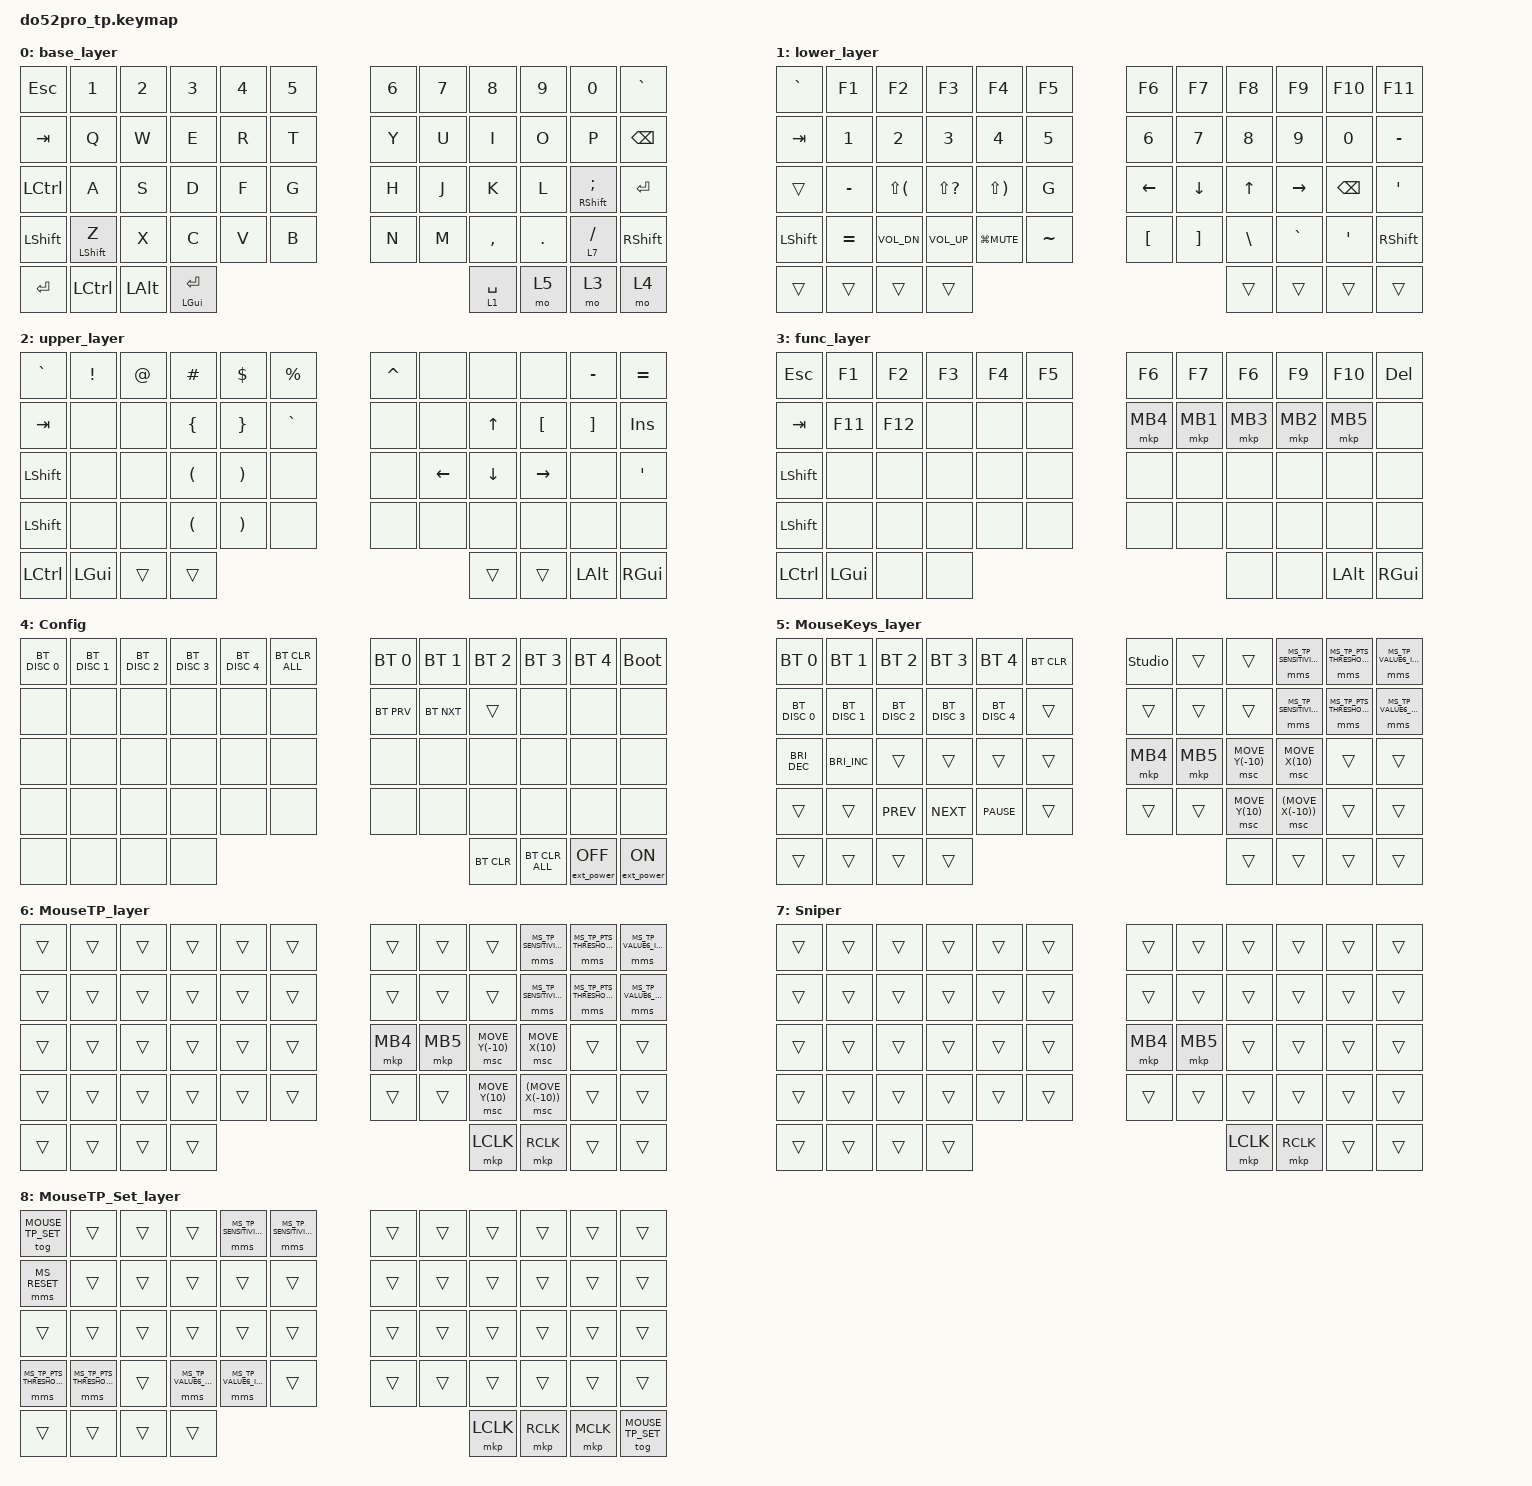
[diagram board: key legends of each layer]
#include <zephyr/dt-bindings/input/input-event-codes.h>

#define BASE 0
#define LOWER 1
#define UPPER 2
#define FUNC 3
#define CONFIG 4
#define MOUSE_KEYS 5
#define MOUSE_TP 6
#define MOUSE_TP_KEYS 7
#define MOUSE_TP_SET 8

#ifdef HAS_UROB

#define HAS_TRI_STATE
#define HAS_NUM_WORD

#endif

#define HAS_MOUSE_KEYS
#define HAS_MOUSE_TP
#define HAS_TRI_STATE

// ZMK includes
// Personal includes

#include "includes/mouse_keys.dtsi"
#include "includes/mouse_tp.dtsi"
#include "includes/mouse_tp_badjeff_input_listener.dtsi"
#include <dt-bindings/zmk/mouse.h>
#include <behaviors.dtsi>
#include <dt-bindings/zmk/bt.h>
#include <dt-bindings/zmk/ext_power.h>
#include <dt-bindings/zmk/keys.h>

&mt { flavor = "tap-preferred"; };

/ {
    combos {
        compatible = "zmk,combos";

        esc {
            bindings = <&kp ESCAPE>;
            key-positions = <13 14>;
        };

        tab {
            bindings = <&kp TAB>;
            key-positions = <27 28>;
        };
    };

    keymap {
        compatible = "zmk,keymap";

        base_layer {
            bindings = <
&kp ESCAPE  &kp N1        &kp N2 &kp N3 &kp N4 &kp N5               &kp N6  &kp N7 &kp N8    &kp N9  &kp N0          &kp GRAVE  
&kp TAB     &kp Q         &kp W  &kp E  &kp R  &kp T                &kp Y   &kp U  &kp I     &kp O   &kp P           &kp BSPC  
&kp LCTRL   &kp A         &kp S  &kp D  &kp F  &kp G                &kp H   &kp J  &kp K     &kp L   &mt RSHIFT SEMI &kp ENTER  
&kp LSHFT   &mt LSHIFT Z  &kp X  &kp C  &kp V  &kp B                &kp N   &kp M  &kp COMMA &kp DOT &lt 7 FSLH      &kp RSHFT  
&kp RET     &kp LCTRL                   &kp LALT  &mt LGUI RET      &lt 1 SPACE &mo 5                &mo 3           &mo 4
            >;
        };

        lower_layer {
            bindings = <
&kp GRAVE  &kp F1     &kp F2        &kp F3           &kp F4          &kp F5             &kp F6    &kp F7    &kp F8    &kp F9     &kp F10   &kp F11
&kp TAB    &kp N1     &kp N2        &kp N3           &kp N4          &kp N5             &kp N6    &kp N7    &kp N8    &kp N9     &kp N0    &kp MINUS
&trans     &kp MINUS  &kp LS(LPAR)  &kp LS(QMARK)    &kp LS(RPAR)    &kp G              &kp LEFT  &kp DOWN  &kp UP    &kp RIGHT  &kp BSPC  &kp APOS
&kp LSHFT  &kp EQUAL  &kp C_VOL_DN  &kp C_VOLUME_UP  &kp LG(K_MUTE)  &kp TILDE          &kp LBKT  &kp RBKT  &kp BSLH  &kp GRAVE  &kp SQT   &kp RIGHT_SHIFT
&trans     &trans                                    &trans          &trans             &trans    &trans                         &trans    &trans
            >;
        };

        upper_layer {
            bindings = <
&kp GRAVE  &kp EXCL  &kp AT  &kp HASH  &kp DLLR  &kp PRCNT          &kp CARET  &none           &none          &none             &kp MINUS          &kp EQUAL
&kp TAB    &none     &none   &kp LBRC  &kp RBRC  &kp GRAVE          &none      &none           &kp UP_ARROW   &kp LEFT_BRACKET  &kp RIGHT_BRACKET  &kp INS
&kp LSHFT  &none     &none   &kp LPAR  &kp RPAR  &none              &none      &kp LEFT_ARROW  &kp DOWN_ARROW &kp RIGHT_ARROW   &none              &kp APOS
&kp LSHFT  &none     &none   &kp LPAR  &kp RPAR  &none              &none      &none           &none          &none             &none              &none
&kp LCTRL  &kp LGUI                    &trans    &trans             &trans     &trans                                           &kp LALT           &kp RGUI
            >;
        };

        func_layer {
            bindings = <
&kp ESC    &kp F1   &kp F2   &kp F3  &kp F4  &kp F5          &kp F6    &kp F7    &kp F6    &kp F9    &kp F10   &kp DEL
&kp TAB    &kp F11  &kp F12  &none   &none   &none           &mkp MB4  &mkp MB1  &mkp MB3  &mkp MB2  &mkp MB5  &none
&kp LSHFT  &none    &none    &none   &none   &none           &none     &none     &none     &none     &none     &none
&kp LSHFT  &none    &none    &none   &none   &none           &none     &none     &none     &none     &none     &none
&kp LCTRL  &kp LGUI                  &none   &none           &none     &none                        &kp LALT  &kp RGUI
            >;
        };

        config_layer { // disregarded layer
            display-name = "Config";
            bindings = <
&bt BT_DISC 0  &bt BT_DISC 1  &bt BT_DISC 2  &bt BT_DISC 3  &bt BT_DISC 4  &bt BT_CLR_ALL      &bt BT_SEL 0  &bt BT_SEL 1  &bt BT_SEL 2  &bt BT_SEL 3  &bt BT_SEL 4      &bootloader
&none          &none          &none          &none          &none          &none               &bt BT_PRV    &bt BT_NXT    &trans        &none         &none             &none
&none          &none          &none          &none          &none          &none               &none         &none         &none         &none         &none             &none
&none          &none          &none          &none          &none          &none               &none         &none         &none         &none         &none             &none
&none          &none                                        &none          &none               &bt BT_CLR    &bt BT_CLR_ALL                            &ext_power EP_OFF &ext_power EP_ON
            >;
        };

        MouseKeys_layer {
            bindings = <
&bt BT_SEL 0          &bt BT_SEL 1          &bt BT_SEL 2  &bt BT_SEL 3  &bt BT_SEL 4  &bt BT_CLR                 &studio_unlock  &trans          &trans            &mms MS_TP_SENSITIVITY_INCR  &mms MS_TP_PTS_THRESHOLD_INCR  &mms MS_TP_VALUE6_INCR
&bt BT_DISC 0         &bt BT_DISC 1         &bt BT_DISC 2 &bt BT_DISC 3 &bt BT_DISC 4 &trans                     &trans          &trans          &trans            &mms MS_TP_SENSITIVITY_DECR  &mms MS_TP_PTS_THRESHOLD_DECR  &mms MS_TP_VALUE6_DECR
&kp C_BRIGHTNESS_DEC  &kp C_BRIGHTNESS_INC  &trans        &trans        &trans        &trans                     &mkp MB4        &mkp MB5        &msc MOVE_Y(-10)  &msc MOVE_X(10)              &trans                         &trans  
&trans                &trans                &kp C_PREV    &kp C_NEXT    &kp C_PAUSE   &trans                     &trans          &trans          &msc MOVE_Y(10)   &msc (MOVE_X(-10))           &trans                         &trans
&trans                &trans                                            &trans        &trans                     &trans          &trans                                                         &trans                         &trans
            >;
        };

        MouseTP_layer {
            bindings = <
&trans  &trans  &trans  &trans  &trans  &trans              &trans          &trans          &trans            &mms MS_TP_SENSITIVITY_INCR  &mms MS_TP_PTS_THRESHOLD_INCR  &mms MS_TP_VALUE6_INCR
&trans  &trans  &trans  &trans  &trans  &trans              &trans          &trans          &trans            &mms MS_TP_SENSITIVITY_DECR  &mms MS_TP_PTS_THRESHOLD_DECR  &mms MS_TP_VALUE6_DECR
&trans  &trans  &trans  &trans  &trans  &trans              &mkp MB4        &mkp MB5        &msc MOVE_Y(-10)  &msc MOVE_X(10)              &trans                         &trans  
&trans  &trans  &trans  &trans  &trans  &trans              &trans          &trans          &msc MOVE_Y(10)   &msc (MOVE_X(-10))           &trans                         &trans
&trans  &trans                  &trans  &trans              &mkp LCLK       &mkp RCLK                                                      &trans                         &trans
            >;
        };

        MouseTP_Keys_layer {
            display-name = "Sniper";
            bindings = <
&trans  &trans  &trans  &trans  &trans  &trans              &trans    &trans   &trans  &trans  &trans  &trans
&trans  &trans  &trans  &trans  &trans  &trans              &trans    &trans   &trans  &trans  &trans  &trans
&trans  &trans  &trans  &trans  &trans  &trans              &mkp MB4  &mkp MB5 &trans  &trans  &trans  &trans
&trans  &trans  &trans  &trans  &trans  &trans              &trans    &trans   &trans  &trans  &trans  &trans
&trans  &trans                  &trans  &trans              &mkp LCLK &mkp RCLK               &trans  &trans
            >;
        };

        MouseTP_Set_layer {
            bindings = <
&tog MOUSE_TP_SET              &trans                         &trans  &trans                  &mms MS_TP_SENSITIVITY_DECR  &mms MS_TP_SENSITIVITY_INCR                               &trans     &trans  &trans  &trans  &trans     &trans  
&mms MS_RESET                  &trans                         &trans  &trans                  &trans                       &trans                                                    &trans     &trans  &trans  &trans  &trans     &trans
&trans                         &trans                         &trans  &trans                  &trans                       &trans                                                    &trans     &trans  &trans  &trans  &trans     &trans
&mms MS_TP_PTS_THRESHOLD_DECR  &mms MS_TP_PTS_THRESHOLD_INCR  &trans  &mms MS_TP_VALUE6_DECR  &mms MS_TP_VALUE6_INCR       &trans                                                    &trans     &trans  &trans  &trans  &trans     &trans
&trans                         &trans                                                         &trans                       &trans                                                    &mkp LCLK  &mkp RCLK               &mkp MCLK  &tog MOUSE_TP_SET
            >;
        };
    };

    conditional_layers {
        compatible = "zmk,conditional-layers";

        conf {
            if-layers = <1 2>;
            then-layer = <4>;
        };
    };
};
